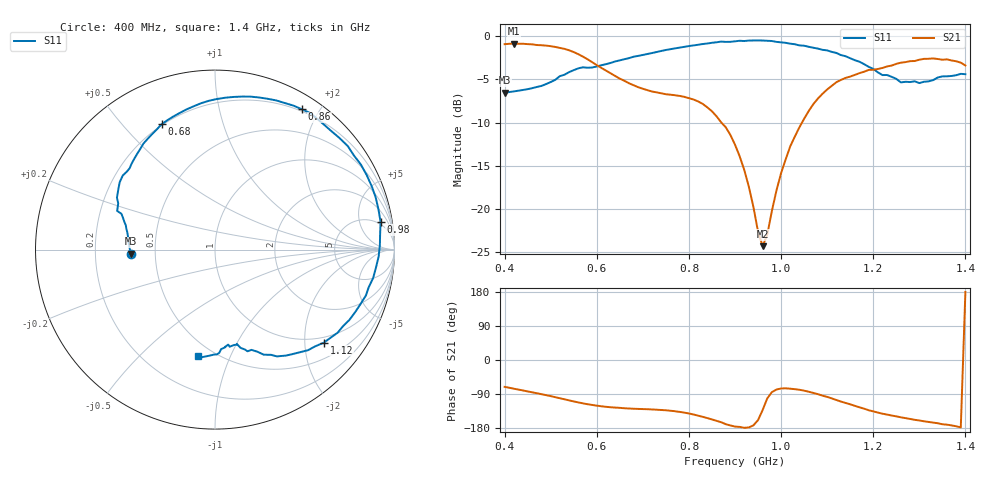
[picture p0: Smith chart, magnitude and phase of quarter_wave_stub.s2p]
# HZ S RI R 50
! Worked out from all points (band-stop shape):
!   101 points, 400 MHz to 1.4 GHz, reference 50 ohm
!   highest |S21| = -0.88 dB at 420 MHz (marker M1); lowest = -24.3 dB at 960 MHz (marker M2)
!   |S21| within 3 dB of the highest: start of sweep to 616.2 MHz; 1.203 GHz to end of sweep
!   lowest |S11| = -6.6 dB at 400 MHz (marker M3), VSWR 2.77, Z = 18 - j1.04 ohm
!   |S11| at or under -10 dB: nowhere
!   S12 and S22 are empty: the file has one direction only
!   S11 on the Smith chart (normalised r, x): 400 MHz: 0.36, -0.02; 680 MHz: 0.20, +0.64; 860 MHz: 0.18, +1.78; 980 MHz: 4, +10; 1.12 GHz: 0.86, -2.45; 1.4 GHz: 0.41, -0.77
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4e8  -0.4697 -0.0224  0.2934 -0.847  0 0  0 0
4.2e8  -0.478 0.0207  0.2229 -0.8758  0 0  0 0
5e8  -0.5123 0.1763  -0.0812 -0.8693  0 0  0 0
5.4e8  -0.5464 0.2896  -0.2352 -0.792  0 0  0 0
5.7e8  -0.514 0.4127  -0.3139 -0.6918  0 0  0 0
6.2e8  -0.434 0.5329  -0.3482 -0.5265  0 0  0 0
6.8e8  -0.2979 0.6981  -0.3238 -0.4059  0 0  0 0
7.4e8  -0.0764 0.8158  -0.3117 -0.3474  0 0  0 0
8e8  0.1956 0.8525  -0.3401 -0.2747  0 0  0 0
8.6e8  0.4837 0.782  -0.3239 -0.1143  0 0  0 0
9e8  0.6916 0.6235  -0.235 -0.0177  0 0  0 0
9.3e8  0.8136 0.4725  -0.1349 -0.00471  0 0  0 0
9.6e8  0.8954 0.2902  -0.0408 -0.0454  0 0  0 0
9.7e8  0.9113 0.2217  -0.014 -0.0699  0 0  0 0
9.8e8  0.9226 0.1538  0.0087 -0.097  0 0  0 0
1.02e9  0.8971 -0.0992  0.057 -0.2237  0 0  0 0
1.07e9  0.7811 -0.3482  0.0216 -0.4034  0 0  0 0
1.12e9  0.6064 -0.5185  -0.1454 -0.5207  0 0  0 0
1.18e9  0.345 -0.595  -0.3855 -0.4875  0 0  0 0
1.24e9  0.1663 -0.5565  -0.5626 -0.3723  0 0  0 0
1.33e9  0.0338 -0.5548  -0.7172 -0.1898  0 0  0 0
1.4e9  -0.0941 -0.5941  -0.6753 0.00426  0 0  0 0
